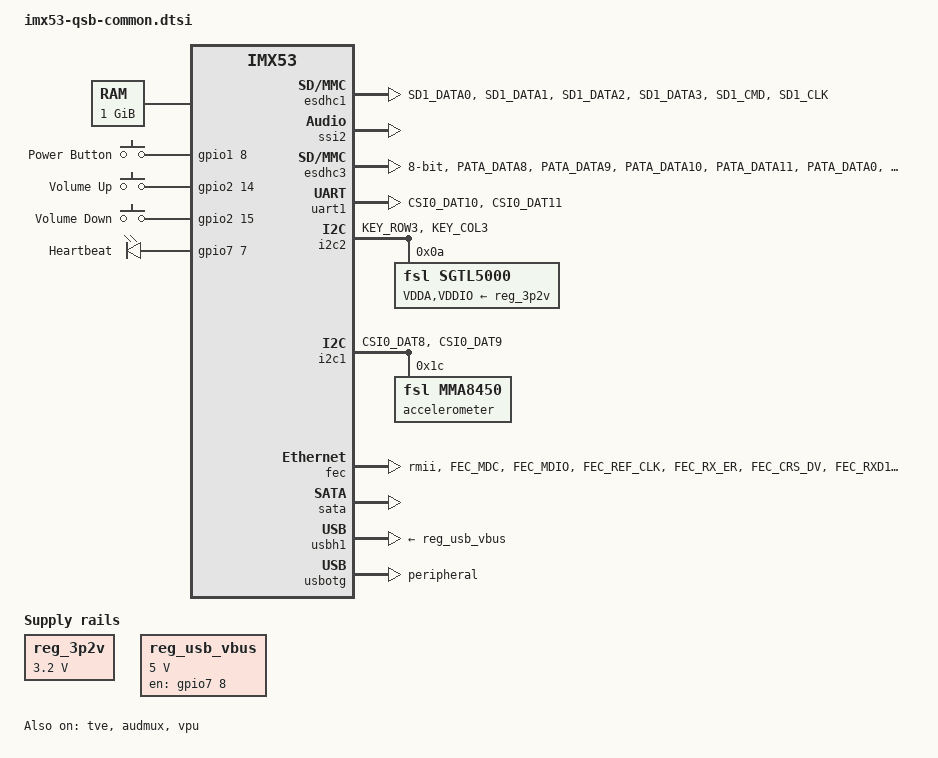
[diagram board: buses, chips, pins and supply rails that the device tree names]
/*
 * Copyright 2011 Freescale Semiconductor, Inc.
 * Copyright 2011 Linaro Ltd.
 *
 * The code contained herein is licensed under the GNU General Public
 * License. You may obtain a copy of the GNU General Public License
 * Version 2 or later at the following locations:
 *
 * http://www.opensource.org/licenses/gpl-license.html
 * http://www.gnu.org/copyleft/gpl.html
 */

#include "imx53.dtsi"

/ {
	chosen {
		stdout-path = &uart1;
	};

	memory {
		reg = <0x70000000 0x20000000>,
		      <0xb0000000 0x20000000>;
	};

	display0: display@di0 {
		compatible = "fsl,imx-parallel-display";
		interface-pix-fmt = "rgb565";
		pinctrl-names = "default";
		pinctrl-0 = <&pinctrl_ipu_disp0>;
		status = "disabled";
		display-timings {
			claawvga {
				native-mode;
				clock-frequency = <27000000>;
				hactive = <800>;
				vactive = <480>;
				hback-porch = <40>;
				hfront-porch = <60>;
				vback-porch = <10>;
				vfront-porch = <10>;
				hsync-len = <20>;
				vsync-len = <10>;
				hsync-active = <0>;
				vsync-active = <0>;
				de-active = <1>;
				pixelclk-active = <0>;
			};
		};

		port {
			display0_in: endpoint {
				remote-endpoint = <&ipu_di0_disp0>;
			};
		};
	};

	gpio-keys {
		compatible = "gpio-keys";

		power {
			label = "Power Button";
			gpios = <&gpio1 8 0>;
			linux,code = <116>; /* KEY_POWER */
		};

		volume-up {
			label = "Volume Up";
			gpios = <&gpio2 14 0>;
			linux,code = <115>; /* KEY_VOLUMEUP */
			gpio-key,wakeup;
		};

		volume-down {
			label = "Volume Down";
			gpios = <&gpio2 15 0>;
			linux,code = <114>; /* KEY_VOLUMEDOWN */
			gpio-key,wakeup;
		};
	};

	leds {
		compatible = "gpio-leds";
		pinctrl-names = "default";
		pinctrl-0 = <&led_pin_gpio7_7>;

		user {
			label = "Heartbeat";
			gpios = <&gpio7 7 0>;
			linux,default-trigger = "heartbeat";
		};
	};

	regulators {
		compatible = "simple-bus";
		#address-cells = <1>;
		#size-cells = <0>;

		reg_3p2v: regulator@0 {
			compatible = "regulator-fixed";
			reg = <0>;
			regulator-name = "3P2V";
			regulator-min-microvolt = <3200000>;
			regulator-max-microvolt = <3200000>;
			regulator-always-on;
		};

		reg_usb_vbus: regulator@1 {
			compatible = "regulator-fixed";
			reg = <1>;
			regulator-name = "usb_vbus";
			regulator-min-microvolt = <5000000>;
			regulator-max-microvolt = <5000000>;
			gpio = <&gpio7 8 0>;
			enable-active-high;
		};
	};

	sound {
		compatible = "fsl,imx53-qsb-sgtl5000",
			     "fsl,imx-audio-sgtl5000";
		model = "imx53-qsb-sgtl5000";
		ssi-controller = <&ssi2>;
		audio-codec = <&sgtl5000>;
		audio-routing =
			"MIC_IN", "Mic Jack",
			"Mic Jack", "Mic Bias",
			"Headphone Jack", "HP_OUT";
		mux-int-port = <2>;
		mux-ext-port = <5>;
	};
};

&esdhc1 {
	pinctrl-names = "default";
	pinctrl-0 = <&pinctrl_esdhc1>;
	status = "okay";
};

&ipu_di0_disp0 {
	remote-endpoint = <&display0_in>;
};

&ssi2 {
	status = "okay";
};

&esdhc3 {
	pinctrl-names = "default";
	pinctrl-0 = <&pinctrl_esdhc3>;
	cd-gpios = <&gpio3 11 GPIO_ACTIVE_LOW>;
	wp-gpios = <&gpio3 12 GPIO_ACTIVE_HIGH>;
	bus-width = <8>;
	status = "okay";
};

&iomuxc {
	pinctrl-names = "default";
	pinctrl-0 = <&pinctrl_hog>;

	imx53-qsb {
		pinctrl_hog: hoggrp {
			fsl,pins = <
				MX53_PAD_GPIO_0__CCM_SSI_EXT1_CLK 0x80000000
				MX53_PAD_GPIO_8__GPIO1_8          0x80000000
				MX53_PAD_PATA_DATA14__GPIO2_14    0x80000000
				MX53_PAD_PATA_DATA15__GPIO2_15    0x80000000
				MX53_PAD_EIM_DA11__GPIO3_11       0x80000000
				MX53_PAD_EIM_DA12__GPIO3_12       0x80000000
				MX53_PAD_PATA_DA_0__GPIO7_6       0x80000000
				MX53_PAD_PATA_DA_2__GPIO7_8	  0x80000000
				MX53_PAD_GPIO_16__GPIO7_11        0x80000000
			>;
		};

		led_pin_gpio7_7: led_gpio7_7@0 {
			fsl,pins = <
				MX53_PAD_PATA_DA_1__GPIO7_7 0x80000000
			>;
		};

		pinctrl_audmux: audmuxgrp {
			fsl,pins = <
				MX53_PAD_KEY_COL0__AUDMUX_AUD5_TXC	0x80000000
				MX53_PAD_KEY_ROW0__AUDMUX_AUD5_TXD	0x80000000
				MX53_PAD_KEY_COL1__AUDMUX_AUD5_TXFS	0x80000000
				MX53_PAD_KEY_ROW1__AUDMUX_AUD5_RXD	0x80000000
			>;
		};

		pinctrl_esdhc1: esdhc1grp {
			fsl,pins = <
				MX53_PAD_SD1_DATA0__ESDHC1_DAT0		0x1d5
				MX53_PAD_SD1_DATA1__ESDHC1_DAT1		0x1d5
				MX53_PAD_SD1_DATA2__ESDHC1_DAT2		0x1d5
				MX53_PAD_SD1_DATA3__ESDHC1_DAT3		0x1d5
				MX53_PAD_SD1_CMD__ESDHC1_CMD		0x1d5
				MX53_PAD_SD1_CLK__ESDHC1_CLK		0x1d5
			>;
		};

		pinctrl_esdhc3: esdhc3grp {
			fsl,pins = <
				MX53_PAD_PATA_DATA8__ESDHC3_DAT0	0x1d5
				MX53_PAD_PATA_DATA9__ESDHC3_DAT1	0x1d5
				MX53_PAD_PATA_DATA10__ESDHC3_DAT2	0x1d5
				MX53_PAD_PATA_DATA11__ESDHC3_DAT3	0x1d5
				MX53_PAD_PATA_DATA0__ESDHC3_DAT4	0x1d5
				MX53_PAD_PATA_DATA1__ESDHC3_DAT5	0x1d5
				MX53_PAD_PATA_DATA2__ESDHC3_DAT6	0x1d5
				MX53_PAD_PATA_DATA3__ESDHC3_DAT7	0x1d5
				MX53_PAD_PATA_RESET_B__ESDHC3_CMD	0x1d5
				MX53_PAD_PATA_IORDY__ESDHC3_CLK		0x1d5
			>;
		};

		pinctrl_fec: fecgrp {
			fsl,pins = <
				MX53_PAD_FEC_MDC__FEC_MDC		0x80000000
				MX53_PAD_FEC_MDIO__FEC_MDIO		0x80000000
				MX53_PAD_FEC_REF_CLK__FEC_TX_CLK	0x80000000
				MX53_PAD_FEC_RX_ER__FEC_RX_ER		0x80000000
				MX53_PAD_FEC_CRS_DV__FEC_RX_DV		0x80000000
				MX53_PAD_FEC_RXD1__FEC_RDATA_1		0x80000000
				MX53_PAD_FEC_RXD0__FEC_RDATA_0		0x80000000
				MX53_PAD_FEC_TX_EN__FEC_TX_EN		0x80000000
				MX53_PAD_FEC_TXD1__FEC_TDATA_1		0x80000000
				MX53_PAD_FEC_TXD0__FEC_TDATA_0		0x80000000
			>;
		};

		pinctrl_i2c1: i2c1grp {
			fsl,pins = <
				MX53_PAD_CSI0_DAT8__I2C1_SDA		0xc0000000
				MX53_PAD_CSI0_DAT9__I2C1_SCL		0xc0000000
			>;
		};

		pinctrl_i2c2: i2c2grp {
			fsl,pins = <
				MX53_PAD_KEY_ROW3__I2C2_SDA		0xc0000000
				MX53_PAD_KEY_COL3__I2C2_SCL		0xc0000000
			>;
		};

		pinctrl_ipu_disp0: ipudisp0grp {
			fsl,pins = <
				MX53_PAD_DI0_DISP_CLK__IPU_DI0_DISP_CLK	0x5
				MX53_PAD_DI0_PIN15__IPU_DI0_PIN15	0x5
				MX53_PAD_DI0_PIN2__IPU_DI0_PIN2		0x5
				MX53_PAD_DI0_PIN3__IPU_DI0_PIN3		0x5
				MX53_PAD_DISP0_DAT0__IPU_DISP0_DAT_0	0x5
				MX53_PAD_DISP0_DAT1__IPU_DISP0_DAT_1	0x5
				MX53_PAD_DISP0_DAT2__IPU_DISP0_DAT_2	0x5
				MX53_PAD_DISP0_DAT3__IPU_DISP0_DAT_3	0x5
				MX53_PAD_DISP0_DAT4__IPU_DISP0_DAT_4	0x5
				MX53_PAD_DISP0_DAT5__IPU_DISP0_DAT_5	0x5
				MX53_PAD_DISP0_DAT6__IPU_DISP0_DAT_6	0x5
				MX53_PAD_DISP0_DAT7__IPU_DISP0_DAT_7	0x5
				MX53_PAD_DISP0_DAT8__IPU_DISP0_DAT_8	0x5
				MX53_PAD_DISP0_DAT9__IPU_DISP0_DAT_9	0x5
				MX53_PAD_DISP0_DAT10__IPU_DISP0_DAT_10	0x5
				MX53_PAD_DISP0_DAT11__IPU_DISP0_DAT_11	0x5
				MX53_PAD_DISP0_DAT12__IPU_DISP0_DAT_12	0x5
				MX53_PAD_DISP0_DAT13__IPU_DISP0_DAT_13	0x5
				MX53_PAD_DISP0_DAT14__IPU_DISP0_DAT_14	0x5
				MX53_PAD_DISP0_DAT15__IPU_DISP0_DAT_15	0x5
				MX53_PAD_DISP0_DAT16__IPU_DISP0_DAT_16	0x5
				MX53_PAD_DISP0_DAT17__IPU_DISP0_DAT_17	0x5
				MX53_PAD_DISP0_DAT18__IPU_DISP0_DAT_18	0x5
				MX53_PAD_DISP0_DAT19__IPU_DISP0_DAT_19	0x5
				MX53_PAD_DISP0_DAT20__IPU_DISP0_DAT_20	0x5
				MX53_PAD_DISP0_DAT21__IPU_DISP0_DAT_21	0x5
				MX53_PAD_DISP0_DAT22__IPU_DISP0_DAT_22	0x5
				MX53_PAD_DISP0_DAT23__IPU_DISP0_DAT_23	0x5
			>;
		};

		pinctrl_vga_sync: vgasync-grp {
			fsl,pins = <
				/* VGA_HSYNC, VSYNC with max drive strength */
				MX53_PAD_EIM_OE__IPU_DI1_PIN7 0xe6
				MX53_PAD_EIM_RW__IPU_DI1_PIN8 0xe6
			>;
		};

		pinctrl_uart1: uart1grp {
			fsl,pins = <
				MX53_PAD_CSI0_DAT10__UART1_TXD_MUX	0x1e4
				MX53_PAD_CSI0_DAT11__UART1_RXD_MUX	0x1e4
			>;
		};
	};
};

&tve {
	pinctrl-names = "default";
	pinctrl-0 = <&pinctrl_vga_sync>;
	fsl,tve-mode = "vga";
	fsl,hsync-pin = <4>;
	fsl,vsync-pin = <6>;
	status = "okay";
};

&uart1 {
	pinctrl-names = "default";
	pinctrl-0 = <&pinctrl_uart1>;
	status = "okay";
};

&i2c2 {
	pinctrl-names = "default";
	pinctrl-0 = <&pinctrl_i2c2>;
	status = "okay";

	sgtl5000: codec@0a {
		compatible = "fsl,sgtl5000";
		reg = <0x0a>;
		VDDA-supply = <&reg_3p2v>;
		VDDIO-supply = <&reg_3p2v>;
		clocks = <&clks IMX5_CLK_SSI_EXT1_GATE>;
	};
};

&i2c1 {
	pinctrl-names = "default";
	pinctrl-0 = <&pinctrl_i2c1>;
	status = "okay";

	accelerometer: mma8450@1c {
		compatible = "fsl,mma8450";
		reg = <0x1c>;
	};
};

&audmux {
	pinctrl-names = "default";
	pinctrl-0 = <&pinctrl_audmux>;
	status = "okay";
};

&fec {
	pinctrl-names = "default";
	pinctrl-0 = <&pinctrl_fec>;
	phy-mode = "rmii";
	phy-reset-gpios = <&gpio7 6 0>;
	status = "okay";
};

&sata {
	status = "okay";
};

&vpu {
	status = "okay";
};

&usbh1 {
	vbus-supply = <&reg_usb_vbus>;
	phy_type = "utmi";
	status = "okay";
};

&usbotg {
	dr_mode = "peripheral";
	status = "okay";
};
